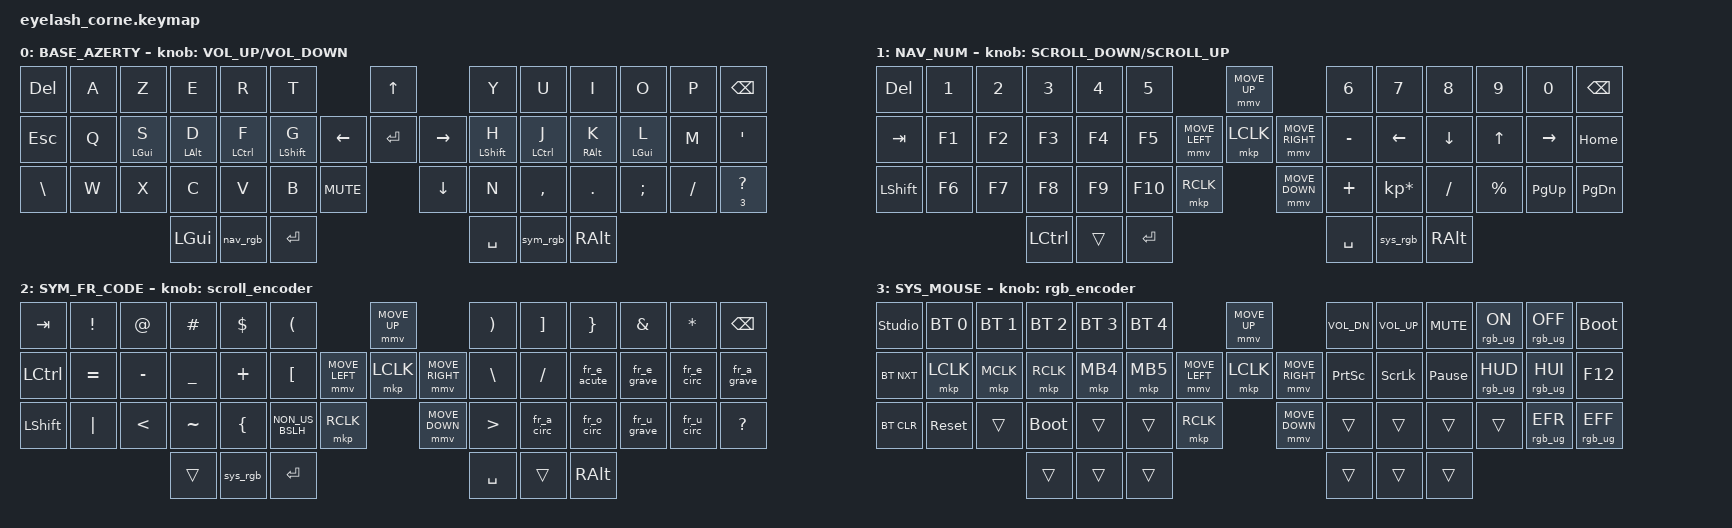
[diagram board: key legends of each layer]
#include <dt-bindings/zmk/mouse.h>
#include <input/processors.dtsi>
#include <behaviors.dtsi>
#include <dt-bindings/zmk/bt.h>
#include <dt-bindings/zmk/keys.h>
#include <dt-bindings/zmk/pointing.h>
#include <dt-bindings/zmk/rgb.h>

#define BASE 0
#define NAV  1
#define SYM  2
#define SYS  3
#define ZMK_MOUSE_DEFAULT_MOVE_VAL 1200
#define ZMK_MOUSE_DEFAULT_SCRL_VAL 20

/* Couleurs de couches */

#define RGB_BASE RGB_COLOR_HSB(120, 100, 26)   /* vert */
#define RGB_NAV  RGB_COLOR_HSB(32, 100, 30)    /* orange */
#define RGB_SYM  RGB_COLOR_HSB(285, 100, 28)   /* mauve */
#define RGB_SYS  RGB_COLOR_HSB(225, 100, 20)   /* bleu foncé */

/ {
    behaviors {
        td0: td0 {
            compatible = "zmk,behavior-tap-dance";
            display-name = "Shift/Caps Lock Tap Dance";
            #binding-cells = <0>;
            bindings = <&kp LEFT_SHIFT>, <&kp CAPS>;
        };

        HMR: HMR {
            compatible = "zmk,behavior-hold-tap";
            label = "HMR";
            bindings = <&kp>, <&kp>;

            #binding-cells = <2>;
            tapping-term-ms = <280>;
            quick-tap-ms = <175>;
            hold-trigger-key-positions = <
                0 1 2 3 4 0 1 2 12 13 14 24 25 26
                0 1 2 3 4 5 12 13 14 15 16 17
                24 25 26 27 28 29 36 37 38 39 40 41
            >;

            hold-trigger-on-release;
            flavor = "balanced";
        };

        HML: HML {
            compatible = "zmk,behavior-hold-tap";
            label = "HML";
            bindings = <&kp>, <&kp>;

            #binding-cells = <2>;
            tapping-term-ms = <280>;
            quick-tap-ms = <175>;
            flavor = "balanced";
            hold-trigger-key-positions = <
                6 7 8 9 10 11
                18 19 20 21 22 23
                30 31 32 33 34 35
                39 40 41 36 37 38
            >;

            hold-trigger-on-release;
        };

        holdForBT: holdForBT {
            compatible = "zmk,behavior-hold-tap";
            label = "HOLDFORBT";
            bindings = <&lt>, <&kp>;

            #binding-cells = <2>;
            tapping-term-ms = <280>;
            quick-tap-ms = <175>;
            hold-trigger-key-positions = <
                0 1 2 3 4 0 1 2 12 13 14 24 25 26
                0 1 2 3 4 5 12 13 14 15 16 17
                24 25 26 27 28 29 36 37 38 39 40 41
            >;

            hold-trigger-on-release;
            flavor = "balanced";
        };
    };

    rgb_encoder: rgb_encoder {
        compatible = "zmk,behavior-sensor-rotate";
        #sensor-binding-cells = <0>;
        bindings = <&rgb_ug RGB_BRI>, <&rgb_ug RGB_BRD>;
    };

    scroll_encoder: scroll_encoder {
        compatible = "zmk,behavior-sensor-rotate";
        #sensor-binding-cells = <0>;
        bindings = <&msc SCRL_DOWN>, <&msc SCRL_UP>;

        tap-ms = <30>;
    };

    macros {
           nav_rgb: nav_rgb {
        compatible = "zmk,behavior-macro";
        #binding-cells = <0>;
        wait-ms = <0>;
        tap-ms = <0>;
        bindings
            = <&macro_press &mo 1>
            , <&macro_tap &rgb_ug RGB_COLOR_HSB(32,100,30)>
            , <&macro_pause_for_release>
            , <&macro_release &mo 1>
            , <&macro_tap &rgb_ug RGB_COLOR_HSB(120,100,26)>;
        };

        sym_rgb: sym_rgb {
            compatible = "zmk,behavior-macro";
            #binding-cells = <0>;
            wait-ms = <0>;
            tap-ms = <0>;
            bindings
                = <&macro_press &mo 2>
                , <&macro_tap &rgb_ug RGB_COLOR_HSB(285,100,28)>
                , <&macro_pause_for_release>
                , <&macro_release &mo 2>
                , <&macro_tap &rgb_ug RGB_COLOR_HSB(120,100,26)>;
        };
    
        sys_rgb: sys_rgb {
            compatible = "zmk,behavior-macro";
            #binding-cells = <0>;
            wait-ms = <0>;
            tap-ms = <0>;
            bindings
                = <&macro_press &mo 3>
                , <&macro_tap &rgb_ug RGB_COLOR_HSB(225,100,20)>
                , <&macro_pause_for_release>
                , <&macro_release &mo 3>
                , <&macro_tap &rgb_ug RGB_COLOR_HSB(120,100,26)>;
        };   
        fr_e_acute: fr_e_acute {
        compatible = "zmk,behavior-macro";
        #binding-cells = <0>;
        wait-ms = <0>;
        tap-ms = <0>;
        bindings
            = <&macro_press &kp LALT>
            , <&macro_tap &kp KP_NUMBER_0>
            , <&macro_tap &kp KP_NUMBER_2>
            , <&macro_tap &kp KP_NUMBER_3>
            , <&macro_tap &kp KP_NUMBER_3>
            , <&macro_release &kp LALT>;
        };
    
        fr_e_grave: fr_e_grave {
            compatible = "zmk,behavior-macro";
            #binding-cells = <0>;
            wait-ms = <0>;
            tap-ms = <0>;
            bindings
                = <&macro_press &kp LALT>
                , <&macro_tap &kp KP_NUMBER_0>
                , <&macro_tap &kp KP_NUMBER_2>
                , <&macro_tap &kp KP_NUMBER_3>
                , <&macro_tap &kp KP_NUMBER_2>
                , <&macro_release &kp LALT>;
        };
    
        fr_e_circ: fr_e_circ {
            compatible = "zmk,behavior-macro";
            #binding-cells = <0>;
            wait-ms = <0>;
            tap-ms = <0>;
            bindings
                = <&macro_press &kp LALT>
                , <&macro_tap &kp KP_NUMBER_0>
                , <&macro_tap &kp KP_NUMBER_2>
                , <&macro_tap &kp KP_NUMBER_3>
                , <&macro_tap &kp KP_NUMBER_4>
                , <&macro_release &kp LALT>;
        };
    
        fr_a_grave: fr_a_grave {
            compatible = "zmk,behavior-macro";
            #binding-cells = <0>;
            wait-ms = <0>;
            tap-ms = <0>;
            bindings
                = <&macro_press &kp LALT>
                , <&macro_tap &kp KP_NUMBER_0>
                , <&macro_tap &kp KP_NUMBER_2>
                , <&macro_tap &kp KP_NUMBER_2>
                , <&macro_tap &kp KP_NUMBER_4>
                , <&macro_release &kp LALT>;
        };
    
        fr_a_circ: fr_a_circ {
            compatible = "zmk,behavior-macro";
            #binding-cells = <0>;
            wait-ms = <0>;
            tap-ms = <0>;
            bindings
                = <&macro_press &kp LALT>
                , <&macro_tap &kp KP_NUMBER_0>
                , <&macro_tap &kp KP_NUMBER_2>
                , <&macro_tap &kp KP_NUMBER_2>
                , <&macro_tap &kp KP_NUMBER_6>
                , <&macro_release &kp LALT>;
        };
    
        fr_u_grave: fr_u_grave {
            compatible = "zmk,behavior-macro";
            #binding-cells = <0>;
            wait-ms = <0>;
            tap-ms = <0>;
            bindings
                = <&macro_press &kp LALT>
                , <&macro_tap &kp KP_NUMBER_0>
                , <&macro_tap &kp KP_NUMBER_2>
                , <&macro_tap &kp KP_NUMBER_4>
                , <&macro_tap &kp KP_NUMBER_9>
                , <&macro_release &kp LALT>;
        };
    
        fr_u_circ: fr_u_circ {
            compatible = "zmk,behavior-macro";
            #binding-cells = <0>;
            wait-ms = <0>;
            tap-ms = <0>;
            bindings
                = <&macro_press &kp LALT>
                , <&macro_tap &kp KP_NUMBER_0>
                , <&macro_tap &kp KP_NUMBER_2>
                , <&macro_tap &kp KP_NUMBER_5>
                , <&macro_tap &kp KP_NUMBER_1>
                , <&macro_release &kp LALT>;
        };
    
        fr_o_circ: fr_o_circ {
            compatible = "zmk,behavior-macro";
            #binding-cells = <0>;
            wait-ms = <0>;
            tap-ms = <0>;
            bindings
                = <&macro_press &kp LALT>
                , <&macro_tap &kp KP_NUMBER_0>
                , <&macro_tap &kp KP_NUMBER_2>
                , <&macro_tap &kp KP_NUMBER_4>
                , <&macro_tap &kp KP_NUMBER_4>
                , <&macro_release &kp LALT>;
        };
    };
    keymap {
        compatible = "zmk,keymap";

        base_layer {
            display-name = "BASE_AZERTY";
            bindings = <
&kp DELETE     &kp A  &kp Z            &kp E            &kp R         &kp T                                      &kp UP                &kp Y              &kp U         &kp I             &kp O            &kp P      &kp BSPC
&kp ESCAPE     &kp Q  &HML LEFT_GUI S  &HML LEFT_ALT D  &HML LCTRL F  &HML LEFT_SHIFT G                &kp LEFT  &kp ENTER  &kp RIGHT  &HMR LEFT_SHIFT H  &HMR LCTRL J  &HMR RIGHT_ALT K  &HMR LEFT_GUI L  &kp M      &kp SQT
&kp BACKSLASH  &kp W  &kp X            &kp C            &kp V         &kp B              &kp C_MUTE              &kp DOWN              &kp N              &kp COMMA     &kp PERIOD        &kp SEMI         &kp SLASH  &holdForBT 3 QUESTION
                                       &kp LGUI         &nav_rgb      &kp ENTER                                                        &kp SPACE          &sym_rgb      &kp RALT
            >;

            sensor-bindings = <&inc_dec_kp C_VOLUME_UP C_VOLUME_DOWN>;
        };

        nav_layer {
            display-name = "NAV_NUM";
            bindings = <
&kp DELETE  &kp N1  &kp N2  &kp N3           &kp N4           &kp N5                                  &mmv MOVE_UP                     &kp N6     &kp N7           &kp N8          &kp N9        &kp N0     &kp BSPC
&kp TAB     &kp F1  &kp F2  &kp F3           &kp F4           &kp F5                  &mmv MOVE_LEFT  &mkp LCLK       &mmv MOVE_RIGHT  &kp MINUS  &kp LEFT         &kp DOWN_ARROW  &kp UP_ARROW  &kp RIGHT  &kp HOME
&kp LSHFT   &kp F6  &kp F7  &kp F8           &kp F9           &kp F10    &mkp RCLK                    &mmv MOVE_DOWN                   &kp PLUS   &kp KP_MULTIPLY  &kp SLASH       &kp PERCENT   &kp PG_UP  &kp PG_DN
                            &kp LCTRL  &trans  &kp ENTER                                                                         &kp SPACE  &sys_rgb        &kp RALT
            >;

            sensor-bindings = <&inc_dec_kp K_SCROLL_DOWN K_SCROLL_UP>;
        };

        sym_layer {
            display-name = "SYM_FR_CODE";
            bindings = <
&kp TAB    &kp EXCL   &kp AT     &kp HASH         &kp DLLR         &kp LEFT_PARENTHESIS                                &mmv MOVE_UP                     &kp RIGHT_PARENTHESIS  &kp RBKT             &kp RIGHT_BRACE      &kp AMPS             &kp ASTERISK         &kp BSPC
&kp LCTRL  &kp EQUAL  &kp MINUS  &kp UNDER        &kp PLUS         &kp LBKT                            &mmv MOVE_LEFT  &mkp LCLK       &mmv MOVE_RIGHT  &kp BSLH               &kp FSLH             &fr_e_acute          &fr_e_grave          &fr_e_circ           &fr_a_grave
&kp LSHFT  &kp PIPE   &kp LT     &kp TILDE        &kp LEFT_BRACE   &kp NON_US_BSLH       &mkp RCLK                     &mmv MOVE_DOWN                   &kp GT                 &fr_a_circ           &fr_o_circ           &fr_u_grave          &fr_u_circ           &kp QUESTION
                                 &trans           &sys_rgb         &kp RET                                                                              &kp SPACE              &trans              &kp RALT
            >;

            sensor-bindings = <&scroll_encoder>;
        };

        sys_layer {
            display-name = "SYS_MOUSE";
            bindings = <
&studio_unlock  &bt BT_SEL 0  &bt BT_SEL 1  &bt BT_SEL 2  &bt BT_SEL 3  &bt BT_SEL 4                                &mmv MOVE_UP                     &kp C_VOL_DN      &kp C_VOL_UP      &kp C_MUTE       &rgb_ug RGB_ON   &rgb_ug RGB_OFF  &bootloader
&bt BT_NXT      &mkp LCLK     &mkp MCLK     &mkp RCLK     &mkp MB4      &mkp MB5                    &mmv MOVE_LEFT  &mkp LCLK       &mmv MOVE_RIGHT  &kp PRINTSCREEN  &kp SCROLLLOCK   &kp PAUSE_BREAK  &rgb_ug RGB_HUD  &rgb_ug RGB_HUI  &kp F12
&bt BT_CLR      &sys_reset    &trans        &bootloader   &trans        &trans        &mkp RCLK                     &mmv MOVE_DOWN                   &trans           &trans            &trans           &trans           &rgb_ug RGB_EFR  &rgb_ug RGB_EFF
                                            &trans        &trans        &trans                                                                       &trans           &trans            &trans
    >;

    sensor-bindings = <&rgb_encoder>;
};
    };
};
